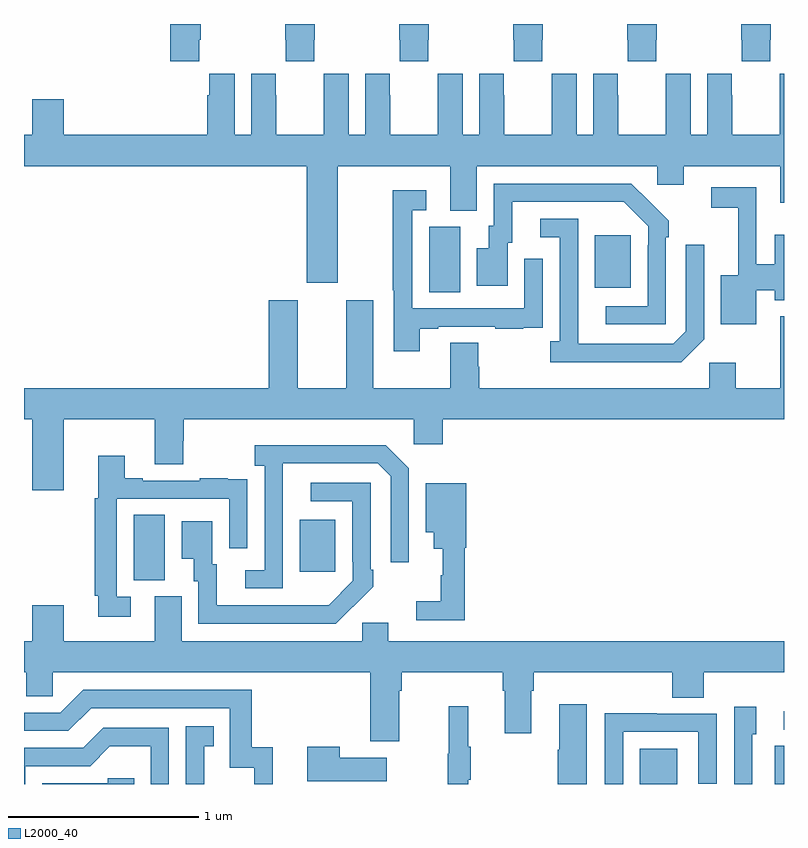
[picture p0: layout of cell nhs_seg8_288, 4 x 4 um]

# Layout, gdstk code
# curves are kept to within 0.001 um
import gdstk
lib = gdstk.Library(unit=1e-6, precision=1e-09)
def R(c, l, rs):  # rectangles x0, y0, x1, y1
    for r in rs: c.add(gdstk.rectangle(r[:2], r[2:], *l))
def P(c, l, *ps):  # polygons
    for p in ps: c.add(gdstk.Polygon(p, *l))
L2000_40 = (2000, 40)

nhs_seg8_288 = lib.new_cell('nhs_seg8_288')
R(nhs_seg8_288, L2000_40, [(132.242,1127.9,132.439,1128.085), (132.95,1127.9,133,1128.101), (132.999,1128.186,133,1128.284), (129.578,1128.973,129.742,1129.316), (130.451,1129.017,130.639,1129.291), (131.132,1130.488,131.296,1130.832), (132.005,1130.513,132.193,1130.788)])
P(nhs_seg8_288, L2000_40, [(132.927,1131.817),(132.93,1131.817),(132.93,1131.9),(132.775,1131.9),(132.775,1131.817),(132.777,1131.817),(132.777,1131.705),(132.927,1131.705)],
  [(132.175,1131.817),(132.177,1131.817),(132.177,1131.705),(132.327,1131.705),(132.327,1131.817),(132.33,1131.817),(132.33,1131.9),(132.175,1131.9)],
  [(129.923,1131.817),(129.93,1131.817),(129.93,1131.9),(129.77,1131.9),(129.77,1131.705),(129.923,1131.705)],
  [(130.527,1131.817),(130.53,1131.817),(130.53,1131.9),(130.375,1131.9),(130.375,1131.817),(130.377,1131.817),(130.377,1131.705),(130.527,1131.705)],
  [(131.127,1131.817),(131.13,1131.817),(131.13,1131.9),(130.975,1131.9),(130.975,1131.817),(130.977,1131.817),(130.977,1131.705),(131.127,1131.705)],
  [(131.727,1131.817),(131.73,1131.817),(131.73,1131.9),(131.575,1131.9),(131.575,1131.817),(131.577,1131.817),(131.577,1131.705),(131.727,1131.705)],
  [(131.243,1130.917),(131.383,1130.917),(131.383,1131.152),(132.333,1131.152),(132.333,1131.054),(132.472,1131.054),(132.472,1131.152),(132.98,1131.152),(132.98,1130.958),(133,1130.958),(133,1131.637),(132.978,1131.637),(132.978,1131.524),(132.977,1131.524),(132.977,1131.316),(132.727,1131.316),(132.727,1131.524),(132.726,1131.524),(132.726,1131.637),(132.596,1131.637),(132.596,1131.316),(132.508,1131.316),(132.508,1131.637),(132.378,1131.637),(132.378,1131.524),(132.377,1131.524),(132.377,1131.316),(132.127,1131.316),(132.127,1131.524),(132.126,1131.524),(132.126,1131.637),(131.996,1131.637),(131.996,1131.316),(131.908,1131.316),(131.908,1131.637),(131.778,1131.637),(131.778,1131.524),(131.777,1131.524),(131.777,1131.316),(131.527,1131.316),(131.527,1131.524),(131.526,1131.524),(131.526,1131.637),(131.396,1131.637),(131.396,1131.316),(131.308,1131.316),(131.308,1131.637),(131.178,1131.637),(131.178,1131.524),(131.177,1131.524),(131.177,1131.316),(130.927,1131.316),(130.927,1131.524),(130.926,1131.524),(130.926,1131.637),(130.796,1131.637),(130.796,1131.316),(130.708,1131.316),(130.708,1131.637),(130.578,1131.637),(130.578,1131.524),(130.577,1131.524),(130.577,1131.316),(130.327,1131.316),(130.327,1131.524),(130.326,1131.524),(130.326,1131.637),(130.196,1131.637),(130.196,1131.316),(130.108,1131.316),(130.108,1131.637),(129.974,1131.637),(129.974,1131.524),(129.965,1131.524),(129.965,1131.316),(129.208,1131.316),(129.208,1131.505),(129.044,1131.505),(129.044,1131.316),(129,1131.316),(129,1131.152),(130.487,1131.152),(130.487,1130.538),(130.651,1130.538),(130.651,1131.152),(131.243,1131.152)],
  [(132.378,1130.777),(132.393,1130.777),(132.393,1130.865),(132.196,1131.06),(131.472,1131.06),(131.472,1130.838),(131.447,1130.838),(131.447,1130.719),(131.384,1130.719),(131.384,1130.523),(131.545,1130.523),(131.545,1130.748),(131.569,1130.748),(131.569,1130.964),(132.157,1130.964),(132.285,1130.835),(132.285,1130.735),(132.282,1130.735),(132.282,1130.415),(132.063,1130.415),(132.063,1130.319),(132.378,1130.319)],
  [(132.855,1130.5),(132.95,1130.5),(132.95,1130.447),(133,1130.447),(133,1130.791),(132.95,1130.791),(132.95,1130.636),(132.855,1130.636),(132.855,1131.042),(132.618,1131.042),(132.618,1130.934),(132.758,1130.934),(132.758,1130.578),(132.668,1130.578),(132.668,1130.321),(132.855,1130.321)],
  [(131.083,1130.295),(131.179,1130.295),(131.179,1130.307),(131.479,1130.307),(131.479,1130.295),(131.627,1130.295),(131.627,1130.301),(131.729,1130.301),(131.729,1130.41),(131.73,1130.41),(131.73,1130.665),(131.634,1130.665),(131.634,1130.403),(131.043,1130.403),(131.043,1130.919),(131.116,1130.919),(131.116,1131.025),(130.942,1131.025),(130.942,1130.5),(130.947,1130.5),(130.947,1130.178),(131.083,1130.178)],
  [(132.579,1130.241),(132.579,1130.737),(132.483,1130.737),(132.483,1130.283),(132.417,1130.217),(131.917,1130.217),(131.916,1130.874),(131.718,1130.874),(131.718,1130.778),(131.82,1130.778),(131.82,1130.23),(131.769,1130.23),(131.769,1130.12),(132.458,1130.12)],
  [(129.208,1129.82),(129.689,1129.82),(129.689,1129.582),(129.837,1129.582),(129.837,1129.707),(129.842,1129.707),(129.842,1129.82),(131.052,1129.82),(131.052,1129.689),(131.204,1129.689),(131.204,1129.82),(133,1129.82),(133,1130.362),(132.98,1130.362),(132.98,1129.984),(132.745,1129.984),(132.745,1130.116),(132.606,1130.116),(132.606,1129.984),(131.396,1129.984),(131.396,1130.097),(131.391,1130.097),(131.391,1130.222),(131.243,1130.222),(131.243,1129.984),(130.837,1129.984),(130.837,1130.446),(130.697,1130.446),(130.697,1129.984),(130.441,1129.984),(130.441,1130.446),(130.289,1130.446),(130.289,1129.984),(129,1129.984),(129,1129.82),(129.044,1129.82),(129.044,1129.446),(129.208,1129.446)],
  [(130.362,1129.387),(130.363,1129.587),(130.863,1129.587),(130.929,1129.521),(130.929,1129.068),(131.025,1129.068),(131.025,1129.563),(130.904,1129.684),(130.215,1129.684),(130.215,1129.574),(130.266,1129.574),(130.266,1129.026),(130.164,1129.026),(130.164,1128.93),(130.362,1128.93)],
  [(129.562,1128.885),(129.489,1128.885),(129.489,1129.401),(130.08,1129.401),(130.08,1129.14),(130.176,1129.14),(130.176,1129.394),(130.175,1129.394),(130.175,1129.503),(130.073,1129.503),(130.073,1129.51),(129.925,1129.51),(129.925,1129.497),(129.625,1129.497),(129.625,1129.51),(129.529,1129.51),(129.529,1129.627),(129.392,1129.627),(129.392,1129.404),(129.373,1129.404),(129.373,1128.892),(129.392,1128.892),(129.392,1128.78),(129.562,1128.78)],
  [(130.733,1128.835),(130.734,1128.834),(130.839,1128.939),(130.839,1129.027),(130.824,1129.027),(130.824,1129.485),(130.509,1129.485),(130.509,1129.389),(130.728,1129.389),(130.728,1129.069),(130.731,1129.069),(130.731,1128.969),(130.603,1128.841),(130.015,1128.84),(130.015,1129.056),(129.991,1129.056),(129.991,1129.282),(129.83,1129.282),(129.83,1129.085),(129.893,1129.085),(129.893,1128.966),(129.918,1128.966),(129.918,1128.744),(130.642,1128.744)],
  [(131.321,1129.143),(131.327,1129.143),(131.327,1129.483),(131.114,1129.483),(131.114,1129.226),(131.156,1129.226),(131.156,1129.139),(131.204,1129.139),(131.204,1128.999),(131.193,1128.999),(131.193,1128.863),(131.064,1128.863),(131.064,1128.762),(131.321,1128.762)],
  [(130.975,1128.392),(130.988,1128.392),(130.988,1128.488),(131.519,1128.488),(131.519,1128.392),(131.531,1128.392),(131.531,1128.168),(131.671,1128.168),(131.671,1128.392),(131.684,1128.392),(131.684,1128.488),(132.413,1128.488),(132.413,1128.355),(132.578,1128.355),(132.578,1128.488),(133,1128.488),(133,1128.652),(130.918,1128.652),(130.918,1128.75),(130.779,1128.75),(130.779,1128.652),(129.829,1128.652),(129.829,1128.888),(129.689,1128.888),(129.689,1128.652),(129.208,1128.652),(129.208,1128.841),(129.044,1128.841),(129.044,1128.652),(129,1128.652),(129,1128.488),(129.011,1128.488),(129.011,1128.361),(129.15,1128.361),(129.15,1128.488),(130.823,1128.488),(130.823,1128.126),(130.975,1128.126)],
  [(130.31,1128.094),(130.199,1128.094),(130.199,1128.396),(129.312,1128.396),(129.192,1128.276),(129,1128.276),(129,1128.18),(129.234,1128.18),(129.354,1128.3),(130.083,1128.3),(130.083,1127.985),(130.212,1127.985),(130.212,1127.9),(130.31,1127.9)],
  [(131.962,1128.319),(131.816,1128.319),(131.816,1128.08),(131.809,1128.08),(131.809,1127.9),(131.962,1127.9)],
  [(131.339,1127.923),(131.35,1127.923),(131.35,1128.097),(131.339,1128.097),(131.339,1128.31),(131.236,1128.31),(131.236,1128.06),(131.229,1128.06),(131.229,1127.9),(131.339,1127.9)],
  [(132.834,1128.162),(132.853,1128.162),(132.853,1128.307),(132.738,1128.307),(132.738,1127.9),(132.834,1127.9)],
  [(132.153,1128.174),(132.549,1128.174),(132.549,1127.901),(132.645,1127.901),(132.645,1128.27),(132.329,1128.27),(132.329,1128.272),(132.057,1128.272),(132.057,1127.9),(132.153,1127.9)],
  [(129.949,1128.099),(129.998,1128.099),(129.998,1128.205),(129.852,1128.205),(129.852,1127.9),(129.949,1127.9)],
  [(129.006,1127.994),(129.348,1127.994),(129.452,1128.098),(129.666,1128.098),(129.666,1127.9),(129.762,1127.9),(129.762,1128.195),(129.416,1128.195),(129.311,1128.09),(129,1128.09),(129,1127.9),(129.006,1127.9)],
  [(130.909,1128.037),(130.661,1128.037),(130.661,1128.097),(130.49,1128.097),(130.49,1127.915),(130.909,1127.915)],
  [(129.581,1127.931),(129.441,1127.931),(129.441,1127.904),(129.096,1127.904),(129.096,1127.9),(129.581,1127.9)])

lib.write_gds('nhs_seg8_288.gds')
